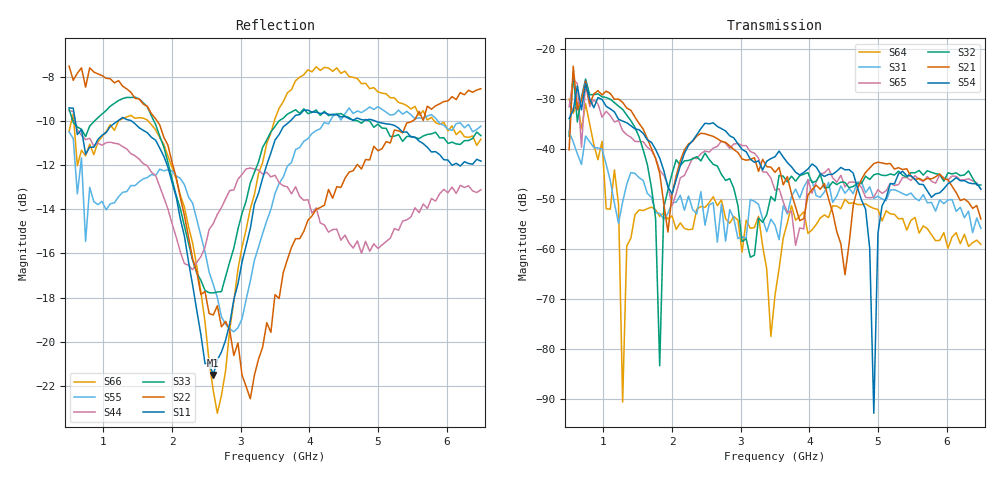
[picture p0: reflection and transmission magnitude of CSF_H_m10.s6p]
!Keysight Technologies,M9804A,MY58100912,A.14.10.03
!Date: Thursday, April 27, 2023 10:28:33
!Correction: S11(C  6-Port  )
!S12(C  6-Port  )
!S13(C  6-Port  )
!S14(C  6-Port  )
!S15(C  6-Port  )
!S16(C  6-Port  )
!S21(C  6-Port  )
!S22(C  6-Port  )
!S23(C  6-Port  )
!S24(C  6-Port  )
!S25(C  6-Port  )
!S26(C  6-Port  )
!S31(C  6-Port  )
!S32(C  6-Port  )
!S33(C  6-Port  )
!S34(C  6-Port  )
!S35(C  6-Port  )
!S36(C  6-Port  )
!S41(C  6-Port  )
!S42(C  6-Port  )
!S43(C  6-Port  )
!S44(C  6-Port  )
!S45(C  6-Port  )
!S46(C  6-Port  )
!S51(C  6-Port  )
!S52(C  6-Port  )
!S53(C  6-Port  )
!S54(C  6-Port  )
!S55(C  6-Port  )
!S56(C  6-Port  )
!S61(C  6-Port  )
!S62(C  6-Port  )
!S63(C  6-Port  )
!S64(C  6-Port  )
!S65(C  6-Port  )
!S66(C  6-Port  )
!S6P File: Measurement: :
# Hz S  RI  R 50
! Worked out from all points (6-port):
!   101 points, 500 MHz to 6.5 GHz, reference 50 ohm
!   strongest paths, dB at 500 MHz, 2 GHz, 3.5 GHz, 5 GHz, 6.5 GHz:
!     S54: -33.9, -49.0, -41.6, -56.9, -48.0
!     S21: -40.2, -49.1, -44.7, -42.7, -54.0
!     S32: -37.5, -45.0, -50.4, -45.0, -47.2
!     S65: -31.6, -51.4, -48.3, -48.2, -48.2
!     S31: -36.6, -50.8, -55.3, -49.5, -55.9
!     S64: -30.1, -53.4, -69.3, -52.1, -59.1
!   lowest |S11| = -21.5 dB at 2.6 GHz (marker M1), VSWR 1.18, Z = 42.5 + j2.14 ohm
!   |S11| at or under -10 dB: 590 MHz to 1.2 GHz (609.8 MHz wide, 68.1 % of centre); 1.417 GHz to 3.716 GHz (2.299 GHz wide, 89.6 % of centre); 4.974 GHz to end of sweep
